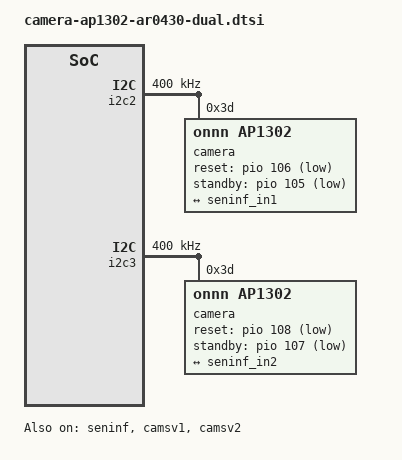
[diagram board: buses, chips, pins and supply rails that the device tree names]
// SPDX-License-Identifier: GPL-2.0
/*
 * Copyright (c) 2021 Baylibre, SAS
 * Author: Florian Sylvestre <florian.sylvestre@baylibre.com>
 */

#include <dt-bindings/clock/mt8365-clk.h>
#include <dt-bindings/gpio/gpio.h>
#include <dt-bindings/pinctrl/mt8365-pinfunc.h>

/dts-v1/;
/plugin/;

/ {
	fragment@0 {
		target = <&pio>;
		__overlay__ {
			cam0_pins_default: cam0_pins_default {
				pins_clk_rst {
					pinmux = <MT8365_PIN_65_CMMCLK0__FUNC_CMMCLK0>,
						<MT8365_PIN_105_NCLE__FUNC_GPIO105>,
						<MT8365_PIN_106_NCEB1__FUNC_GPIO106>;
				};
			};

			cam1_pins_default: cam1_pins_default {
				pins_clk_rst {
					pinmux = <MT8365_PIN_66_CMMCLK1__FUNC_CMMCLK1>,
						 <MT8365_PIN_107_NCEB0__FUNC_GPIO107>,
						 <MT8365_PIN_108_NREB__FUNC_GPIO108>;
				};
			};
		};
	};

	fragment@1 {
		target = <&i2c2>;
		__overlay__ {
			clock-frequency = <400000>;

			camera@3d {  /* Rear camera */
				compatible = "onnn,ap1302";
				reg = <0x3d>;

				pinctrl-names = "default";
				pinctrl-0 = <&cam0_pins_default>;

				clocks = <&topckgen CLK_TOP_CAMTG_SEL>;
				assigned-clocks = <&topckgen CLK_TOP_CAMTG_SEL>;
				assigned-clock-parents = <&topckgen CLK_TOP_USB20_192M_D4>;

				reset-gpios = <&pio 106 GPIO_ACTIVE_LOW>;
				standby-gpios = <&pio 105 GPIO_ACTIVE_LOW>;

				orientation = <0>;
				rotation = <0>;

				port {
					isp1_out: endpoint {
						remote-endpoint = <&seninf_in1>;
						data-lanes = <1 2 3 4>;
					};
				};

				sensors {
					#address-cells = <1>;
					#size-cells = <0>;

					onnn,model = "onnn,ar0430";

					sensor@0 {
						reg = <0>;
					};
				};
			};
		};
	};

	fragment@2 {
		target = <&i2c3>;
		__overlay__ {
			clock-frequency = <400000>;

			camera@3d { /* Front camera */
				compatible = "onnn,ap1302";
				reg = <0x3d>;

				pinctrl-names = "default";
				pinctrl-0 = <&cam1_pins_default>;

				clocks = <&topckgen CLK_TOP_CAMTG1_SEL>;
				assigned-clocks = <&topckgen CLK_TOP_CAMTG1_SEL>;
				assigned-clock-parents = <&topckgen CLK_TOP_USB20_192M_D4>;

				reset-gpios = <&pio 108 GPIO_ACTIVE_LOW>;
				standby-gpios = <&pio 107 GPIO_ACTIVE_LOW>;

				orientation = <0>;
				rotation = <0>;

				port {
					isp2_out: endpoint {
						remote-endpoint = <&seninf_in2>;
						data-lanes = <1 2 3 4>;
					};
				};

				sensors {
					#address-cells = <1>;
					#size-cells = <0>;

					onnn,model = "onnn,ar0430";

					sensor@0 {
						reg = <0>;
					};
				};
			};
		};
	};

	fragment@3 {
		target = <&seninf>;
		__overlay__ {
			status = "okay";

			ports {
				port@0 {
					seninf_in1: endpoint {
						clock-lanes = <2>;
						data-lanes = <1 3 0 4>;
						remote-endpoint = <&isp1_out>;
					};
				};

				port@1 {
					seninf_in2: endpoint {
						clock-lanes = <2>;
						data-lanes = <1 3 0 4>;
						remote-endpoint = <&isp2_out>;
					};
				};
			};
		};
	};

	fragment@4 {
		target = <&camsv1>;
		__overlay__ {
			status = "okay";
		};
	};

	fragment@5 {
		target = <&camsv2>;
		__overlay__ {
			status = "okay";
		};
	};
};
